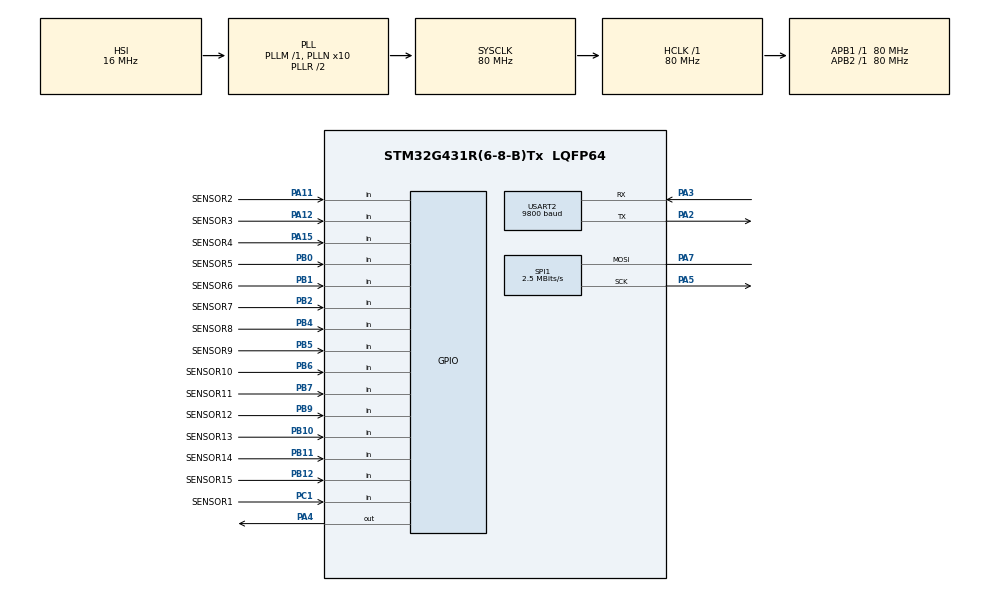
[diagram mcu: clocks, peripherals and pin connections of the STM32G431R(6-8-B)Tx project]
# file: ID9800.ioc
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Mcu.Family=STM32G4
Mcu.Name=STM32G431R(6-8-B)Tx
Mcu.Package=LQFP64
NVIC.PriorityGroup=NVIC_PRIORITYGROUP_4
PA11.GPIO_Label=SENSOR2
PA11.GPIO_PuPd=GPIO_PULLDOWN
PA11.Signal=GPIO_Input
PA12.GPIO_Label=SENSOR3
PA12.GPIO_PuPd=GPIO_PULLDOWN
PA12.Signal=GPIO_Input
PA13.Mode=Serial_Wire
PA13.Signal=SYS_JTMS-SWDIO
PA14.Mode=Serial_Wire
PA14.Signal=SYS_JTCK-SWCLK
PA15.GPIO_Label=SENSOR4
PA15.GPIO_PuPd=GPIO_PULLDOWN
PA15.Signal=GPIO_Input
PA2.Mode=Asynchronous
PA2.Signal=USART2_TX
PA3.Mode=Asynchronous
PA3.Signal=USART2_RX
PA4.Signal=GPIO_Output
PA5.Mode=Simplex_Bidirectional_Master
PA5.Signal=SPI1_SCK
PA7.Mode=Simplex_Bidirectional_Master
PA7.Signal=SPI1_MOSI
PB0.GPIO_Label=SENSOR5
PB0.GPIO_PuPd=GPIO_PULLDOWN
PB0.Signal=GPIO_Input
PB1.GPIO_Label=SENSOR6
PB1.GPIO_PuPd=GPIO_PULLDOWN
PB1.Signal=GPIO_Input
PB10.GPIO_Label=SENSOR13
PB10.GPIO_PuPd=GPIO_PULLDOWN
PB10.Signal=GPIO_Input
PB11.GPIO_Label=SENSOR14
PB11.GPIO_PuPd=GPIO_PULLDOWN
PB11.Signal=GPIO_Input
PB12.GPIO_Label=SENSOR15
PB12.GPIO_PuPd=GPIO_PULLDOWN
PB12.Signal=GPIO_Input
PB2.GPIO_Label=SENSOR7
PB2.GPIO_PuPd=GPIO_PULLDOWN
PB2.Signal=GPIO_Input
PB4.GPIO_Label=SENSOR8
PB4.GPIO_PuPd=GPIO_PULLDOWN
PB4.Signal=GPIO_Input
PB5.GPIO_Label=SENSOR9
PB5.GPIO_PuPd=GPIO_PULLDOWN
PB5.Signal=GPIO_Input
PB6.GPIO_Label=SENSOR10
PB6.GPIO_PuPd=GPIO_PULLDOWN
PB6.Signal=GPIO_Input
PB7.GPIO_Label=SENSOR11
PB7.GPIO_PuPd=GPIO_PULLDOWN
PB7.Signal=GPIO_Input
PB9.GPIO_Label=SENSOR12
PB9.Signal=GPIO_Input
PC1.GPIO_Label=SENSOR1
PC1.GPIO_PuPd=GPIO_PULLDOWN
PC1.Signal=GPIO_Input
PF0-OSC_IN.Mode=HSE-External-Oscillator
PF0-OSC_IN.Signal=RCC_OSC_IN
PF1-OSC_OUT.Mode=HSE-External-Oscillator
PF1-OSC_OUT.Signal=RCC_OSC_OUT
ProjectManager.HeapSize=0x200
ProjectManager.StackSize=0x400
ProjectManager.TargetToolchain=STM32CubeIDE
RCC.ADC12Freq_Value=80000000
RCC.AHBFreq_Value=80000000
RCC.APB1Freq_Value=80000000
RCC.APB1TimFreq_Value=80000000
RCC.APB2Freq_Value=80000000
RCC.APB2TimFreq_Value=80000000
RCC.CortexFreq_Value=80000000
RCC.EXTERNAL_CLOCK_VALUE=12288000
RCC.HCLKFreq_Value=80000000
RCC.HSE_VALUE=8000000
RCC.HSI48_VALUE=48000000
RCC.HSI_VALUE=16000000
RCC.LSE_VALUE=32768
RCC.PLLN=10
RCC.SYSCLKFreq_VALUE=80000000
RCC.SYSCLKSource=RCC_SYSCLKSOURCE_PLLCLK
RCC.USBFreq_Value=80000000
RCC.VCOOutputFreq_Value=160000000
SPI1.BaudRatePrescaler=SPI_BAUDRATEPRESCALER_32
SPI1.CalculateBaudRate=2.5 MBits/s
SPI1.DataSize=SPI_DATASIZE_8BIT
SPI1.Direction=SPI_DIRECTION_1LINE
SPI1.Mode=SPI_MODE_MASTER
SPI1.VirtualType=VM_MASTER
USART2.BaudRate=9800
USART2.VirtualMode-Asynchronous=VM_ASYNC
VP_SYS_VS_DBSignals.Mode=DisableDeadBatterySignals
board=custom

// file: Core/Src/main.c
/* USER CODE BEGIN Header */
/**
  ******************************************************************************
  * @file           : main.c
  * @brief          : Main program body
  ******************************************************************************
  * @attention
  *
  * Copyright (c) 2024 STMicroelectronics.
  * All rights reserved.
  *
  * This software is licensed under terms that can be found in the LICENSE file
  * in the root directory of this software component.
  * If no LICENSE file comes with this software, it is provided AS-IS.
  *
  ******************************************************************************
  */
/* USER CODE END Header */
#include "main.h"
#include "stdio.h"
#include "string.h"
#include "stm32g4xx_hal.h"
/* USER CODE BEGIN Includes */
#include "WS2812_SPI.h"
#include "Func.h"
/* USER CODE END Includes */

SPI_HandleTypeDef hspi1;
UART_HandleTypeDef huart2;

void SystemClock_Config(void);
static void MX_GPIO_Init(void);
static void MX_SPI1_Init(void);
static void MX_USART2_UART_Init(void);
/* USER CODE BEGIN PFP */

#define RX_BUFFER_SIZE 256
#define TX_BUFFER_SIZE 256

uint8_t data[] = "Sensor Detected";
uint8_t reply[] = "Acknowledged";
uint8_t Rx_data[15];
uint8_t RxBuffer[RX_BUFFER_SIZE];
uint8_t TxBuffer[TX_BUFFER_SIZE];
/* USER CODE END PFP */

void FreeUARTBuffer(void)
{
    // Step 1: Abort UART communication
    HAL_UART_Abort(&huart2);

    // Step 2: Clear any application-level buffers
    // Example: Assuming you have an Rx buffer
    memset(RxBuffer, 0, sizeof(RxBuffer));

    // Step 3: Reinitialize UART (optional)
    if (HAL_UART_Init(&huart2) != HAL_OK)
    {
        // Initialization Error
        Error_Handler();
    }
}

int main(void)
{

  /* MCU Configuration--------------------------------------------------------*/

  /* Reset of all peripherals, Initializes the Flash interface and the Systick. */
  HAL_Init();

  /* Configure the system clock */
  SystemClock_Config();

  /* Initialize all configured peripherals */
  MX_GPIO_Init();
  MX_SPI1_Init();
  MX_USART2_UART_Init();
  /* USER CODE BEGIN 2 */
  setLED(0, 0, 0, 0);
  setLED(1, 0, 0, 0);
  setLED(2, 0, 0, 0);
  setLED(3, 0, 0, 0);
  setLED(4, 0, 0, 0);
  setLED(5, 0, 0, 0);
  setLED(6, 0, 0, 0);
  setLED(7, 0, 0, 0);
  setLED(8, 0, 0, 0);
  setLED(9, 0, 0, 0);
  setLED(10, 0, 0, 0);
  setLED(11, 0, 0, 0);
  setLED(12, 0, 0, 0);
  setLED(13, 0, 0, 0);
  setLED(14, 0, 0, 0);
  WS2812_Send();

  for(int i=0; i<=14; i++)
  {
	  setLED(i, 80, 0, 0);
	  WS2812_Send();
  }
  /* USER CODE END 2 */

  /* Infinite loop */
  while (1)
   {

	  if(__HAL_UART_GET_FLAG(&huart2,UART_FLAG_RXNE))
	  {
		  HAL_UART_Receive(&huart2, Rx_data, 15, 10);
		  HAL_Delay(50);
		  interpreter(Rx_data);
		  HAL_Delay(50);
		  FreeUARTBuffer();
		  HAL_UART_Transmit(&huart2,reply,12,1000);
		  HAL_Delay(50);
		  FreeUARTBuffer();
	  }
	  if(HAL_GPIO_ReadPin(SENSOR1_GPIO_Port, SENSOR1_Pin)) // Doesn't work
	  {
		  uint8_t data[] = "Sensor 1 Detected";
		  HAL_UART_Transmit(&huart2,data,17,10);
	  }
	  if(HAL_GPIO_ReadPin(SENSOR2_GPIO_Port, SENSOR2_Pin)) // Doesn't work
	  {
		  uint8_t data[] = "Sensor 2 Detected";
		  HAL_UART_Transmit(&huart2,data,17,10);
	  }
	  if(HAL_GPIO_ReadPin(SENSOR3_GPIO_Port, SENSOR3_Pin))
	  {
		  uint8_t data[] = "Sensor 3 Detected";
		  HAL_UART_Transmit(&huart2,data,17,10);
	  }
	  if(HAL_GPIO_ReadPin(SENSOR4_GPIO_Port, SENSOR4_Pin))
	  {
		  uint8_t data[] = "Sensor 4 Detected";
		  HAL_UART_Transmit(&huart2,data,17,10);
	  }
	  if(HAL_GPIO_ReadPin(SENSOR5_GPIO_Port, SENSOR5_Pin))
	  {
		  uint8_t data[] = "Sensor 5 Detected";
		  HAL_UART_Transmit(&huart2,data,17,10);
	  }
	  if(HAL_GPIO_ReadPin(SENSOR6_GPIO_Port, SENSOR6_Pin))
	  {
		  uint8_t data[] = "Sensor 6 Detected";
		  HAL_UART_Transmit(&huart2,data,17,10);
	  }
	  if(HAL_GPIO_ReadPin(SENSOR7_GPIO_Port, SENSOR7_Pin))
	  {
		  uint8_t data[] = "Sensor 7 Detected";
		  HAL_UART_Transmit(&huart2,data,17,10);
	  }
	  if(HAL_GPIO_ReadPin(SENSOR8_GPIO_Port, SENSOR8_Pin))
	  {
		  uint8_t data[] = "Sensor 8 Detected";
		  HAL_UART_Transmit(&huart2,data,17,10);
	  }
	  if(HAL_GPIO_ReadPin(SENSOR9_GPIO_Port, SENSOR9_Pin)) // Doesn't work
	  {
		  uint8_t data[] = "Sensor 9 Detected";
		  HAL_UART_Transmit(&huart2,data,17,10);
	  }
	  if(HAL_GPIO_ReadPin(SENSOR10_GPIO_Port, SENSOR10_Pin))
	  {
		  uint8_t data[] = "Sensor 10 Detected";
		  HAL_UART_Transmit(&huart2,data,18,10);
	  }
	  if(HAL_GPIO_ReadPin(SENSOR11_GPIO_Port, SENSOR11_Pin))
	  {
		  uint8_t data[] = "Sensor 11 Detected";
		  HAL_UART_Transmit(&huart2,data,18,10);
	  }
	  if(HAL_GPIO_ReadPin(SENSOR12_GPIO_Port, SENSOR12_Pin)) // Doesn't work
	  {
		  uint8_t data[] = "Sensor 12 Detected";
		  HAL_UART_Transmit(&huart2,data,18,10);
	  }
	  if(HAL_GPIO_ReadPin(SENSOR13_GPIO_Port, SENSOR13_Pin)) // Doesn't work
	  {
		  uint8_t data[] = "Sensor 13 Detected";
		  HAL_UART_Transmit(&huart2,data,18,10);
	  }
	  if(HAL_GPIO_ReadPin(SENSOR14_GPIO_Port, SENSOR14_Pin))
	  {
		  uint8_t data[] = "Sensor 14 Detected";
		  HAL_UART_Transmit(&huart2,data,18,10);
	  }
	  if(HAL_GPIO_ReadPin(SENSOR15_GPIO_Port, SENSOR15_Pin))
	  {
		  uint8_t data[] = "Sensor 15 Detected";
		  HAL_UART_Transmit(&huart2,data,18,10);
	  }

   }
}

void SystemClock_Config(void)
{
  RCC_OscInitTypeDef RCC_OscInitStruct = {0};
  RCC_ClkInitTypeDef RCC_ClkInitStruct = {0};

  /** Configure the main internal regulator output voltage
  */
  HAL_PWREx_ControlVoltageScaling(PWR_REGULATOR_VOLTAGE_SCALE1);

  /** Initializes the RCC Oscillators according to the specified parameters
  * in the RCC_OscInitTypeDef structure.
  */
  RCC_OscInitStruct.OscillatorType = RCC_OSCILLATORTYPE_HSI;
  RCC_OscInitStruct.HSIState = RCC_HSI_ON;
  RCC_OscInitStruct.HSICalibrationValue = RCC_HSICALIBRATION_DEFAULT;
  RCC_OscInitStruct.PLL.PLLState = RCC_PLL_ON;
  RCC_OscInitStruct.PLL.PLLSource = RCC_PLLSOURCE_HSI;
  RCC_OscInitStruct.PLL.PLLM = RCC_PLLM_DIV1;
  RCC_OscInitStruct.PLL.PLLN = 10;
  RCC_OscInitStruct.PLL.PLLP = RCC_PLLP_DIV2;
  RCC_OscInitStruct.PLL.PLLQ = RCC_PLLQ_DIV2;
  RCC_OscInitStruct.PLL.PLLR = RCC_PLLR_DIV2;
  if (HAL_RCC_OscConfig(&RCC_OscInitStruct) != HAL_OK)
  {
    Error_Handler();
  }

  /** Initializes the CPU, AHB and APB buses clocks
  */
  RCC_ClkInitStruct.ClockType = RCC_CLOCKTYPE_HCLK|RCC_CLOCKTYPE_SYSCLK
                              |RCC_CLOCKTYPE_PCLK1|RCC_CLOCKTYPE_PCLK2;
  RCC_ClkInitStruct.SYSCLKSource = RCC_SYSCLKSOURCE_PLLCLK;
  RCC_ClkInitStruct.AHBCLKDivider = RCC_SYSCLK_DIV1;
  RCC_ClkInitStruct.APB1CLKDivider = RCC_HCLK_DIV1;
  RCC_ClkInitStruct.APB2CLKDivider = RCC_HCLK_DIV1;

  if (HAL_RCC_ClockConfig(&RCC_ClkInitStruct, FLASH_LATENCY_2) != HAL_OK)
  {
    Error_Handler();
  }
}

static void MX_SPI1_Init(void)
{

  /* SPI1 parameter configuration*/
  hspi1.Instance = SPI1;
  hspi1.Init.Mode = SPI_MODE_MASTER;
  hspi1.Init.Direction = SPI_DIRECTION_1LINE;
  hspi1.Init.DataSize = SPI_DATASIZE_8BIT;
  hspi1.Init.CLKPolarity = SPI_POLARITY_LOW;
  hspi1.Init.CLKPhase = SPI_PHASE_1EDGE;
  hspi1.Init.NSS = SPI_NSS_SOFT;
  hspi1.Init.BaudRatePrescaler = SPI_BAUDRATEPRESCALER_32;
  hspi1.Init.FirstBit = SPI_FIRSTBIT_MSB;
  hspi1.Init.TIMode = SPI_TIMODE_DISABLE;
  hspi1.Init.CRCCalculation = SPI_CRCCALCULATION_DISABLE;
  hspi1.Init.CRCPolynomial = 7;
  hspi1.Init.CRCLength = SPI_CRC_LENGTH_DATASIZE;
  hspi1.Init.NSSPMode = SPI_NSS_PULSE_ENABLE;
  if (HAL_SPI_Init(&hspi1) != HAL_OK)
  {
    Error_Handler();
  }

}

static void MX_USART2_UART_Init(void)
{
  huart2.Instance = USART2;
  huart2.Init.BaudRate = 115200;
  huart2.Init.WordLength = UART_WORDLENGTH_8B;
  huart2.Init.StopBits = UART_STOPBITS_1;
  huart2.Init.Parity = UART_PARITY_NONE;
  huart2.Init.Mode = UART_MODE_TX_RX;
  huart2.Init.HwFlowCtl = UART_HWCONTROL_NONE;
  huart2.Init.OverSampling = UART_OVERSAMPLING_16;
  huart2.Init.OneBitSampling = UART_ONE_BIT_SAMPLE_DISABLE;
  huart2.Init.ClockPrescaler = UART_PRESCALER_DIV1;
  huart2.AdvancedInit.AdvFeatureInit = UART_ADVFEATURE_NO_INIT;

  // Assign Tx and Rx buffer pointers
  huart2.pTxBuffPtr = TxBuffer;
  huart2.TxXferSize = TX_BUFFER_SIZE;
  huart2.pRxBuffPtr = RxBuffer;
  huart2.RxXferSize = RX_BUFFER_SIZE;

  if (HAL_UART_Init(&huart2) != HAL_OK)
  {
    Error_Handler();
  }
  if (HAL_UARTEx_SetTxFifoThreshold(&huart2, UART_TXFIFO_THRESHOLD_1_8) != HAL_OK)
  {
    Error_Handler();
  }
  if (HAL_UARTEx_SetRxFifoThreshold(&huart2, UART_RXFIFO_THRESHOLD_1_8) != HAL_OK)
  {
    Error_Handler();
  }
  if (HAL_UARTEx_DisableFifoMode(&huart2) != HAL_OK)
  {
    Error_Handler();
  }
}
static void MX_GPIO_Init(void)
{
  GPIO_InitTypeDef GPIO_InitStruct = {0};

  /* GPIO Ports Clock Enable */
  __HAL_RCC_GPIOC_CLK_ENABLE();
  __HAL_RCC_GPIOA_CLK_ENABLE();
  __HAL_RCC_GPIOB_CLK_ENABLE();

  /*Configure GPIO pin Output Level */
  HAL_GPIO_WritePin(GPIOA, GPIO_PIN_4, GPIO_PIN_RESET);

  /*Configure GPIO pin : SENSOR1_Pin */
  GPIO_InitStruct.Pin = SENSOR1_Pin;
  GPIO_InitStruct.Mode = GPIO_MODE_INPUT;
  GPIO_InitStruct.Pull = GPIO_PULLDOWN;
  HAL_GPIO_Init(SENSOR1_GPIO_Port, &GPIO_InitStruct);

  /*Configure GPIO pin : PA4 */
  GPIO_InitStruct.Pin = GPIO_PIN_4;
  GPIO_InitStruct.Mode = GPIO_MODE_OUTPUT_PP;
  GPIO_InitStruct.Pull = GPIO_NOPULL;
  GPIO_InitStruct.Speed = GPIO_SPEED_FREQ_LOW;
  HAL_GPIO_Init(GPIOA, &GPIO_InitStruct);

  /*Configure GPIO pins : SENSOR5_Pin SENSOR6_Pin SENSOR7_Pin SENSOR13_Pin
                           SENSOR14_Pin SENSOR15_Pin SENSOR8_Pin SENSOR9_Pin
                           SENSOR10_Pin SENSOR11_Pin SENSOR12_Pin */
  GPIO_InitStruct.Pin = SENSOR5_Pin|SENSOR6_Pin|SENSOR7_Pin|SENSOR13_Pin
                          |SENSOR14_Pin|SENSOR15_Pin|SENSOR8_Pin|SENSOR9_Pin
                          |SENSOR10_Pin|SENSOR11_Pin|SENSOR12_Pin;
  GPIO_InitStruct.Mode = GPIO_MODE_INPUT;
  GPIO_InitStruct.Pull = GPIO_PULLDOWN;
  HAL_GPIO_Init(GPIOB, &GPIO_InitStruct);

  /*Configure GPIO pins : SENSOR2_Pin SENSOR3_Pin SENSOR4_Pin */
  GPIO_InitStruct.Pin = SENSOR2_Pin|SENSOR3_Pin|SENSOR4_Pin;
  GPIO_InitStruct.Mode = GPIO_MODE_INPUT;
  GPIO_InitStruct.Pull = GPIO_PULLDOWN;
  HAL_GPIO_Init(GPIOA, &GPIO_InitStruct);

}

void Error_Handler(void)
{
  __disable_irq();
  while (1)
  {
  }
}
